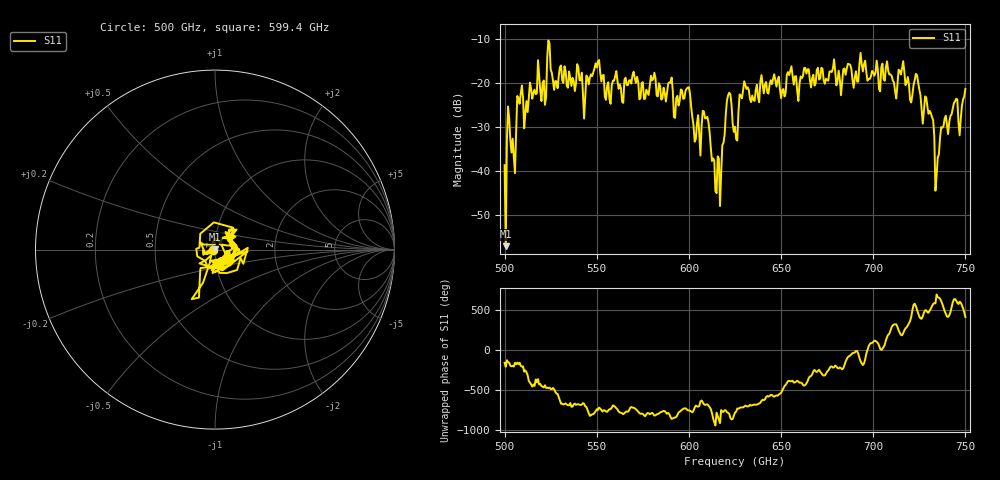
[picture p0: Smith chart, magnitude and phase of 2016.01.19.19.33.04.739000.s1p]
!Created with skrf (http://scikit-rf.org).
# GHz S RI R 50.0
!freq ReS11 ImS11
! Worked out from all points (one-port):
!   401 points, 500 GHz to 750 GHz, reference 50 ohm
!   lowest |S11| = -57.0 dB at 500.6 GHz (marker M1), VSWR 1.00, Z = 49.9 + j0.0677 ohm
!   |S11| at or under -10 dB: start of sweep to end of sweep
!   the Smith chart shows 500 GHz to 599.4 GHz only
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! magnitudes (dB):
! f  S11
! 500 GHz  -38.6
! 500.6 GHz  -57.0
! 502.5 GHz  -28.1
! 505 GHz  -36.8
! 508.1 GHz  -24.7
! 521.2 GHz  -19.4
! 524.4 GHz  -11.0
! 527.5 GHz  -19.5
! 531.2 GHz  -19.3
! 543.8 GHz  -22.9
! 550 GHz  -16.5
! 562.5 GHz  -20.3
! 580.6 GHz  -19.1
! 593.8 GHz  -22.9
! 599.4 GHz  -21.0
! 605 GHz  -27.3
! 608.8 GHz  -28.0
! 615.6 GHz  -36.6
! 621.2 GHz  -22.8
! 625 GHz  -29.9
! 630.6 GHz  -20.4
! 656.2 GHz  -18.4
! 687.5 GHz  -15.8
! 718.8 GHz  -18.6
! 729.4 GHz  -25.3
! 735 GHz  -36.9
! 738.1 GHz  -29.8
! 750 GHz  -21.3
